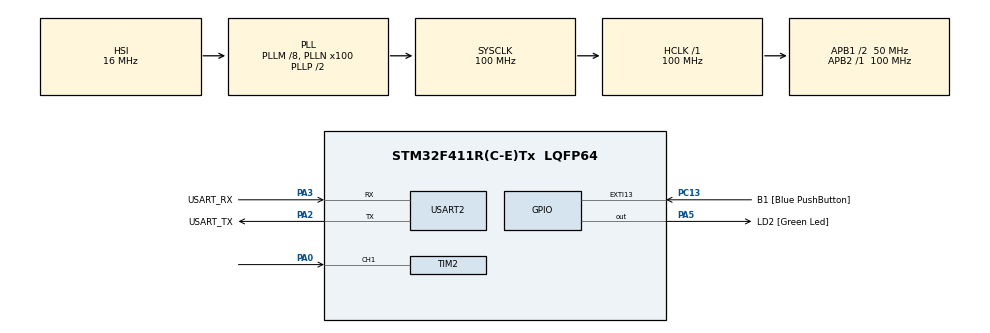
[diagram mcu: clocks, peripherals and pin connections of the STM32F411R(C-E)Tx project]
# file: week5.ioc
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Dma.Request0=TIM2_CH1
Dma.TIM2_CH1.0.Direction=DMA_PERIPH_TO_MEMORY
Dma.TIM2_CH1.0.FIFOMode=DMA_FIFOMODE_DISABLE
Dma.TIM2_CH1.0.Instance=DMA1_Stream5
Dma.TIM2_CH1.0.MemDataAlignment=DMA_MDATAALIGN_WORD
Dma.TIM2_CH1.0.MemInc=DMA_MINC_ENABLE
Dma.TIM2_CH1.0.Mode=DMA_CIRCULAR
Dma.TIM2_CH1.0.PeriphDataAlignment=DMA_PDATAALIGN_WORD
Dma.TIM2_CH1.0.PeriphInc=DMA_PINC_DISABLE
Dma.TIM2_CH1.0.Priority=DMA_PRIORITY_LOW
Mcu.Family=STM32F4
Mcu.Name=STM32F411R(C-E)Tx
Mcu.Package=LQFP64
NVIC.DMA1_Stream5_IRQn=true\:0\:0\:false\:false\:true\:false\:true
NVIC.PriorityGroup=NVIC_PRIORITYGROUP_0
NVIC.TIM1_TRG_COM_TIM11_IRQn=true\:0\:1\:true\:false\:true\:true\:true
NVIC.TIM5_IRQn=true\:0\:0\:false\:false\:true\:true\:true
PA0-WKUP.Signal=S_TIM2_CH1_ETR
PA13.GPIO_Label=TMS
PA13.Mode=Serial_Wire
PA13.Signal=SYS_JTMS-SWDIO
PA14.GPIO_Label=TCK
PA14.Mode=Serial_Wire
PA14.Signal=SYS_JTCK-SWCLK
PA2.GPIO_Label=USART_TX
PA2.Mode=Asynchronous
PA2.Signal=USART2_TX
PA3.GPIO_Label=USART_RX
PA3.Mode=Asynchronous
PA3.Signal=USART2_RX
PA5.GPIO_Label=LD2 [Green Led]
PA5.Signal=GPIO_Output
PB3.GPIO_Label=SWO
PB3.Signal=SYS_JTDO-SWO
PC13-ANTI_TAMP.GPIO_Label=B1 [Blue PushButton]
PC13-ANTI_TAMP.GPIO_ModeDefaultEXTI=GPIO_MODE_IT_FALLING
PC13-ANTI_TAMP.Signal=GPXTI13
PC14-OSC32_IN.Mode=LSE-External-Oscillator
PC14-OSC32_IN.Signal=RCC_OSC32_IN
PC15-OSC32_OUT.Mode=LSE-External-Oscillator
PC15-OSC32_OUT.Signal=RCC_OSC32_OUT
PH0\ -\ OSC_IN.Mode=HSE-External-Clock-Source
PH0\ -\ OSC_IN.Signal=RCC_OSC_IN
PH1\ -\ OSC_OUT.Mode=HSE-External-Clock-Source
PH1\ -\ OSC_OUT.Signal=RCC_OSC_OUT
ProjectManager.HeapSize=0x200
ProjectManager.StackSize=0x400
ProjectManager.TargetToolchain=STM32CubeIDE
RCC.48MHZClocksFreq_Value=50000000
RCC.AHBFreq_Value=100000000
RCC.APB1CLKDivider=RCC_HCLK_DIV2
RCC.APB1Freq_Value=50000000
RCC.APB1TimFreq_Value=100000000
RCC.APB2Freq_Value=100000000
RCC.APB2TimFreq_Value=100000000
RCC.CortexFreq_Value=100000000
RCC.FLatency-AdvancedSettings=FLASH_LATENCY_3
RCC.HCLKFreq_Value=100000000
RCC.HSE_VALUE=8000000
RCC.HSI_VALUE=16000000
RCC.PLLM=8
RCC.PLLN=100
RCC.RCC_RTC_Clock_Source=RCC_RTCCLKSOURCE_LSI
RCC.RCC_RTC_Clock_SourceVirtual=RCC_RTCCLKSOURCE_LSI
RCC.SYSCLKFreq_VALUE=100000000
RCC.SYSCLKSource=RCC_SYSCLKSOURCE_PLLCLK
RCC.VCOOutputFreq_Value=200000000
SH.S_TIM2_CH1_ETR.0=TIM2_CH1,Input_Capture1_from_TI1
TIM11.AutoReloadPreload=TIM_AUTORELOAD_PRELOAD_ENABLE
TIM11.Period=65535
TIM11.Prescaler=99
TIM2.Channel-Input_Capture1_from_TI1=TIM_CHANNEL_1
TIM2.Prescaler=99
TIM5.AutoReloadPreload=TIM_AUTORELOAD_PRELOAD_ENABLE
TIM5.Period=100000
TIM5.Prescaler=100
USART2.VirtualMode=VM_ASYNC
VP_TIM10_VS_ClockSourceINT.Mode=Enable_Timer
VP_TIM11_VS_ClockSourceINT.Mode=Enable_Timer
VP_TIM2_VS_ClockSourceINT.Mode=Internal
VP_TIM5_VS_ClockSourceINT.Mode=Internal
board=NUCLEO-F411RE

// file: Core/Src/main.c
/* USER CODE BEGIN Header */
/**
 ******************************************************************************
 * @file           : main.c
 * @brief          : Main program body
 ******************************************************************************
 * @attention
 *
 * <h2><center>&copy; Copyright (c) 2021 STMicroelectronics.
 * All rights reserved.</center></h2>
 *
 * This software component is licensed by ST under BSD 3-Clause license,
 * the "License"; You may not use this file except in compliance with the
 * License. You may obtain a copy of the License at:
 *                        opensource.org/licenses/BSD-3-Clause
 *
 ******************************************************************************
 */
/* USER CODE END Header */
#include "main.h"

/* USER CODE BEGIN PD */
#define CAPTURENUM 16

/* USER CODE END PD */

TIM_HandleTypeDef htim2;
TIM_HandleTypeDef htim5;
TIM_HandleTypeDef htim10;
TIM_HandleTypeDef htim11;
DMA_HandleTypeDef hdma_tim2_ch1;

UART_HandleTypeDef huart2;

/* USER CODE BEGIN PV */

//12 P/R , Gear reduction 1 : 64
//DMA Buffer
uint32_t capturedata[CAPTURENUM] = { 0 };
//diff time of capture data
int64_t DiffTime[CAPTURENUM-1] = { 0 };
//Mean difftime
float MeanTime =0;
float velocity = 0;

//for microsecond measurement
uint64_t _micros =0;
/* USER CODE END PV */

void SystemClock_Config(void);
static void MX_GPIO_Init(void);
static void MX_USART2_UART_Init(void);
static void MX_TIM11_Init(void);
static void MX_TIM10_Init(void);
static void MX_DMA_Init(void);
static void MX_TIM2_Init(void);
static void MX_TIM5_Init(void);
/* USER CODE BEGIN PFP */
//Read speed of encoder
void encoderSpeedReaderCycle();
uint64_t micros();
/* USER CODE END PFP */

int main(void)
{

  /* MCU Configuration--------------------------------------------------------*/

  /* Reset of all peripherals, Initializes the Flash interface and the Systick. */
  HAL_Init();

  /* Configure the system clock */
  SystemClock_Config();

  /* Initialize all configured peripherals */
  MX_GPIO_Init();
  MX_USART2_UART_Init();
  MX_TIM11_Init();
  MX_TIM10_Init();
  MX_DMA_Init();
  MX_TIM2_Init();
  MX_TIM5_Init();
  /* USER CODE BEGIN 2 */
  	  //start Microsec timer
	HAL_TIM_Base_Start_IT(&htim11);
	HAL_TIM_Base_Start_IT(&htim5);
	//start Input capture in DMA
	HAL_TIM_Base_Start(&htim2);
	HAL_TIM_IC_Start_DMA(&htim2, TIM_CHANNEL_1, (uint32_t*) &capturedata,
			CAPTURENUM);

	uint64_t timestamp =0;
  /* USER CODE END 2 */

  /* Infinite loop */
  /* USER CODE BEGIN WHILE */
	while (1) {
		//read Time of encoder
		encoderSpeedReaderCycle();

		/*if(micros()-timestamp > 1000000)
		{
			timestamp = micros();
			HAL_GPIO_TogglePin(LD2_GPIO_Port,LD2_Pin);
		}*/

    /* USER CODE END WHILE */

	}
}

void SystemClock_Config(void)
{
  RCC_OscInitTypeDef RCC_OscInitStruct = {0};
  RCC_ClkInitTypeDef RCC_ClkInitStruct = {0};

  /** Configure the main internal regulator output voltage
  */
  __HAL_RCC_PWR_CLK_ENABLE();
  __HAL_PWR_VOLTAGESCALING_CONFIG(PWR_REGULATOR_VOLTAGE_SCALE1);
  /** Initializes the RCC Oscillators according to the specified parameters
  * in the RCC_OscInitTypeDef structure.
  */
  RCC_OscInitStruct.OscillatorType = RCC_OSCILLATORTYPE_HSI;
  RCC_OscInitStruct.HSIState = RCC_HSI_ON;
  RCC_OscInitStruct.HSICalibrationValue = RCC_HSICALIBRATION_DEFAULT;
  RCC_OscInitStruct.PLL.PLLState = RCC_PLL_ON;
  RCC_OscInitStruct.PLL.PLLSource = RCC_PLLSOURCE_HSI;
  RCC_OscInitStruct.PLL.PLLM = 8;
  RCC_OscInitStruct.PLL.PLLN = 100;
  RCC_OscInitStruct.PLL.PLLP = RCC_PLLP_DIV2;
  RCC_OscInitStruct.PLL.PLLQ = 4;
  if (HAL_RCC_OscConfig(&RCC_OscInitStruct) != HAL_OK)
  {
    Error_Handler();
  }
  /** Initializes the CPU, AHB and APB buses clocks
  */
  RCC_ClkInitStruct.ClockType = RCC_CLOCKTYPE_HCLK|RCC_CLOCKTYPE_SYSCLK
                              |RCC_CLOCKTYPE_PCLK1|RCC_CLOCKTYPE_PCLK2;
  RCC_ClkInitStruct.SYSCLKSource = RCC_SYSCLKSOURCE_PLLCLK;
  RCC_ClkInitStruct.AHBCLKDivider = RCC_SYSCLK_DIV1;
  RCC_ClkInitStruct.APB1CLKDivider = RCC_HCLK_DIV2;
  RCC_ClkInitStruct.APB2CLKDivider = RCC_HCLK_DIV1;

  if (HAL_RCC_ClockConfig(&RCC_ClkInitStruct, FLASH_LATENCY_3) != HAL_OK)
  {
    Error_Handler();
  }
}

static void MX_TIM2_Init(void)
{

  TIM_ClockConfigTypeDef sClockSourceConfig = {0};
  TIM_MasterConfigTypeDef sMasterConfig = {0};
  TIM_IC_InitTypeDef sConfigIC = {0};

  htim2.Instance = TIM2;
  htim2.Init.Prescaler = 99;
  htim2.Init.CounterMode = TIM_COUNTERMODE_UP;
  htim2.Init.Period = 4294967295;
  htim2.Init.ClockDivision = TIM_CLOCKDIVISION_DIV1;
  htim2.Init.AutoReloadPreload = TIM_AUTORELOAD_PRELOAD_DISABLE;
  if (HAL_TIM_Base_Init(&htim2) != HAL_OK)
  {
    Error_Handler();
  }
  sClockSourceConfig.ClockSource = TIM_CLOCKSOURCE_INTERNAL;
  if (HAL_TIM_ConfigClockSource(&htim2, &sClockSourceConfig) != HAL_OK)
  {
    Error_Handler();
  }
  if (HAL_TIM_IC_Init(&htim2) != HAL_OK)
  {
    Error_Handler();
  }
  sMasterConfig.MasterOutputTrigger = TIM_TRGO_RESET;
  sMasterConfig.MasterSlaveMode = TIM_MASTERSLAVEMODE_DISABLE;
  if (HAL_TIMEx_MasterConfigSynchronization(&htim2, &sMasterConfig) != HAL_OK)
  {
    Error_Handler();
  }
  sConfigIC.ICPolarity = TIM_INPUTCHANNELPOLARITY_RISING;
  sConfigIC.ICSelection = TIM_ICSELECTION_DIRECTTI;
  sConfigIC.ICPrescaler = TIM_ICPSC_DIV1;
  sConfigIC.ICFilter = 0;
  if (HAL_TIM_IC_ConfigChannel(&htim2, &sConfigIC, TIM_CHANNEL_1) != HAL_OK)
  {
    Error_Handler();
  }

}

static void MX_TIM5_Init(void)
{

  TIM_ClockConfigTypeDef sClockSourceConfig = {0};
  TIM_MasterConfigTypeDef sMasterConfig = {0};

  htim5.Instance = TIM5;
  htim5.Init.Prescaler = 100;
  htim5.Init.CounterMode = TIM_COUNTERMODE_UP;
  htim5.Init.Period = 100000;
  htim5.Init.ClockDivision = TIM_CLOCKDIVISION_DIV1;
  htim5.Init.AutoReloadPreload = TIM_AUTORELOAD_PRELOAD_ENABLE;
  if (HAL_TIM_Base_Init(&htim5) != HAL_OK)
  {
    Error_Handler();
  }
  sClockSourceConfig.ClockSource = TIM_CLOCKSOURCE_INTERNAL;
  if (HAL_TIM_ConfigClockSource(&htim5, &sClockSourceConfig) != HAL_OK)
  {
    Error_Handler();
  }
  sMasterConfig.MasterOutputTrigger = TIM_TRGO_RESET;
  sMasterConfig.MasterSlaveMode = TIM_MASTERSLAVEMODE_DISABLE;
  if (HAL_TIMEx_MasterConfigSynchronization(&htim5, &sMasterConfig) != HAL_OK)
  {
    Error_Handler();
  }

}

static void MX_TIM10_Init(void)
{

  htim10.Instance = TIM10;
  htim10.Init.Prescaler = 0;
  htim10.Init.CounterMode = TIM_COUNTERMODE_UP;
  htim10.Init.Period = 65535;
  htim10.Init.ClockDivision = TIM_CLOCKDIVISION_DIV1;
  htim10.Init.AutoReloadPreload = TIM_AUTORELOAD_PRELOAD_DISABLE;
  if (HAL_TIM_Base_Init(&htim10) != HAL_OK)
  {
    Error_Handler();
  }

}

static void MX_TIM11_Init(void)
{

  htim11.Instance = TIM11;
  htim11.Init.Prescaler = 99;
  htim11.Init.CounterMode = TIM_COUNTERMODE_UP;
  htim11.Init.Period = 65535;
  htim11.Init.ClockDivision = TIM_CLOCKDIVISION_DIV1;
  htim11.Init.AutoReloadPreload = TIM_AUTORELOAD_PRELOAD_ENABLE;
  if (HAL_TIM_Base_Init(&htim11) != HAL_OK)
  {
    Error_Handler();
  }

}

static void MX_USART2_UART_Init(void)
{

  huart2.Instance = USART2;
  huart2.Init.BaudRate = 115200;
  huart2.Init.WordLength = UART_WORDLENGTH_8B;
  huart2.Init.StopBits = UART_STOPBITS_1;
  huart2.Init.Parity = UART_PARITY_NONE;
  huart2.Init.Mode = UART_MODE_TX_RX;
  huart2.Init.HwFlowCtl = UART_HWCONTROL_NONE;
  huart2.Init.OverSampling = UART_OVERSAMPLING_16;
  if (HAL_UART_Init(&huart2) != HAL_OK)
  {
    Error_Handler();
  }

}

static void MX_DMA_Init(void)
{

  /* DMA controller clock enable */
  __HAL_RCC_DMA1_CLK_ENABLE();

  /* DMA interrupt init */
  /* DMA1_Stream5_IRQn interrupt configuration */
  HAL_NVIC_SetPriority(DMA1_Stream5_IRQn, 0, 0);
  HAL_NVIC_EnableIRQ(DMA1_Stream5_IRQn);

}

static void MX_GPIO_Init(void)
{
  GPIO_InitTypeDef GPIO_InitStruct = {0};

  /* GPIO Ports Clock Enable */
  __HAL_RCC_GPIOC_CLK_ENABLE();
  __HAL_RCC_GPIOH_CLK_ENABLE();
  __HAL_RCC_GPIOA_CLK_ENABLE();
  __HAL_RCC_GPIOB_CLK_ENABLE();

  /*Configure GPIO pin Output Level */
  HAL_GPIO_WritePin(LD2_GPIO_Port, LD2_Pin, GPIO_PIN_RESET);

  /*Configure GPIO pin : B1_Pin */
  GPIO_InitStruct.Pin = B1_Pin;
  GPIO_InitStruct.Mode = GPIO_MODE_IT_FALLING;
  GPIO_InitStruct.Pull = GPIO_NOPULL;
  HAL_GPIO_Init(B1_GPIO_Port, &GPIO_InitStruct);

  /*Configure GPIO pin : LD2_Pin */
  GPIO_InitStruct.Pin = LD2_Pin;
  GPIO_InitStruct.Mode = GPIO_MODE_OUTPUT_PP;
  GPIO_InitStruct.Pull = GPIO_NOPULL;
  GPIO_InitStruct.Speed = GPIO_SPEED_FREQ_LOW;
  HAL_GPIO_Init(LD2_GPIO_Port, &GPIO_InitStruct);

}

/* USER CODE BEGIN 4 */
void encoderSpeedReaderCycle() {
	//get DMA Position form number of data
	uint32_t CapPos =CAPTURENUM -  __HAL_DMA_GET_COUNTER(htim2.hdma[TIM_DMA_ID_CC1]);
	uint32_t sum = 0 ;

	//calculate diff from all buffer except current dma
	for(register int i=2 ;i < CAPTURENUM-1;i++)
	{
		DiffTime[i]  = capturedata[(CapPos+1+i)%CAPTURENUM]-capturedata[(CapPos+i)%CAPTURENUM];
		//Sum all  Diff
		sum += DiffTime[i];
	}

	//mean all Diff
	MeanTime =sum / (float)(CAPTURENUM-3);
	velocity = 2*60000000/(MeanTime*3072);
}
uint64_t micros()
{
	return _micros + htim11.Instance->CNT;
}
void HAL_TIM_PeriodElapsedCallback(TIM_HandleTypeDef *htim)
{
 if(htim == &htim11)
 {
	 _micros += 65535;
 }
 if(htim == &htim5){
	 HAL_GPIO_TogglePin(LD2_GPIO_Port,LD2_Pin);
 }
}
/* USER CODE END 4 */

void Error_Handler(void)
{
	__disable_irq();
	while (1) {
	}
}
